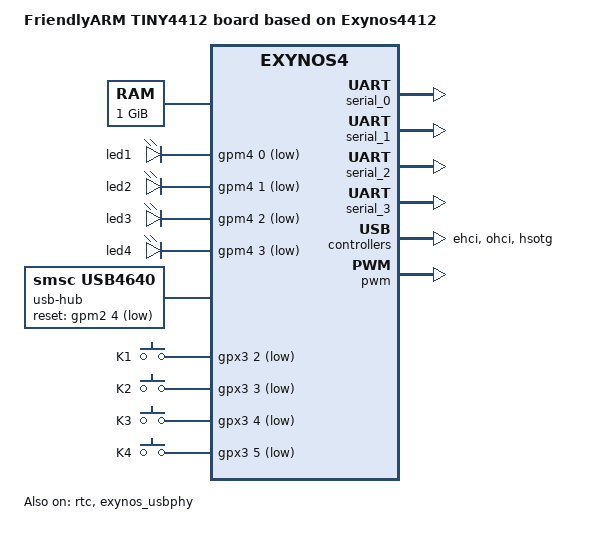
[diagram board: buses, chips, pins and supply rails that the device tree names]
// SPDX-License-Identifier: GPL-2.0
/*
 * FriendlyARM's Exynos4412 based TINY4412 board device tree source
 *
 * Copyright (c) 2013 Alex Ling <kasimling@gmail.com>
 *
 * Device tree source file for FriendlyARM's TINY4412 board which is based on
 * Samsung's Exynos4412 SoC.
 */

/dts-v1/;
#include "exynos4412.dtsi"
#include <dt-bindings/gpio/gpio.h>
#include <dt-bindings/usb4640/usb4640.h>
#include <dt-bindings/input/input.h>

/ {
	model = "FriendlyARM TINY4412 board based on Exynos4412";
	compatible = "friendlyarm,tiny4412", "samsung,exynos4412", "samsung,exynos4";

	chosen {
		stdout-path = &serial_0;
	};

	memory@40000000 {
		device_type = "memory";
		reg = <0x40000000 0x40000000>;
	};

	leds {
		compatible = "gpio-leds";

		led1 {
			label = "led1";
			gpios = <&gpm4 0 GPIO_ACTIVE_LOW>;
			default-state = "off";
			linux,default-trigger = "heartbeat";
		};

		led2 {
			label = "led2";
			gpios = <&gpm4 1 GPIO_ACTIVE_LOW>;
			default-state = "off";
		};

		led3 {
			label = "led3";
			gpios = <&gpm4 2 GPIO_ACTIVE_LOW>;
			default-state = "off";
		};

		led4 {
			label = "led4";
			gpios = <&gpm4 3 GPIO_ACTIVE_LOW>;
			default-state = "off";
			linux,default-trigger = "mmc0";
		};
	};

	fixed-rate-clocks {
		xxti {
			compatible = "samsung,clock-xxti";
			clock-frequency = <0>;
		};

		xusbxti {
			compatible = "samsung,clock-xusbxti";
			clock-frequency = <24000000>;
		};
	};

	usb-hub {
       		    compatible = "smsc,usb4640";
       		    reset-gpios = <&gpm2 4 GPIO_ACTIVE_LOW>;
       	            initial-mode = <USB4640_MODE_HUB>;
   	};
	
	gpio_keys {
                compatible = "gpio-keys";

                k1 {
                        label = "K1";
                        gpios = <&gpx3 2 GPIO_ACTIVE_LOW>;
                        linux,code = <KEY_1>;
                        wakeup-source;
                };

                k2 {
                        label = "K2";
                        gpios = <&gpx3 3 GPIO_ACTIVE_LOW>;
                        linux,code = <KEY_2>;
                        wakeup-source;
                };

                k3 {
                        label = "K3";
                        gpios = <&gpx3 4 GPIO_ACTIVE_LOW>;
                        linux,code = <KEY_3>;
                        wakeup-source;
                };

                k4 {
                        label = "K4";
                        gpios = <&gpx3 5 GPIO_ACTIVE_LOW>;
                        linux,code = <KEY_4>;
                        wakeup-source;
                };

        };

};

&rtc {
	status = "okay";
};

&sdhci_2 {
	bus-width = <4>;
	pinctrl-0 = <&sd2_clk &sd2_cmd &sd2_cd &sd2_bus4>;
	pinctrl-names = "default";
	//status = "okay";
	status = "disabled";
};

&serial_0 {
	status = "okay";
};
	
&serial_1 {
	status = "okay";
};

&serial_2 {
	status = "okay";
};

&serial_3 {
	status = "okay";
};

&exynos_usbphy {
    status = "okay";
};

&ehci {
    status = "okay";
    port@0 {
        status = "okay";
    };
    port@1 {
        status = "okay";
    };
    port@2 {
        status = "okay";
    };
};                         

&ohci {
    status = "okay";
    port@0 {
        status = "okay";
    };
};

&hsotg {
    status = "okay";
};  

&pwm {
    pinctrl-0 = <&pwm0_out &pwm1_out>;
    pinctrl-names = "default";
    samsung,pwm-outputs = <0>, <1>;
    status = "okay";
};
